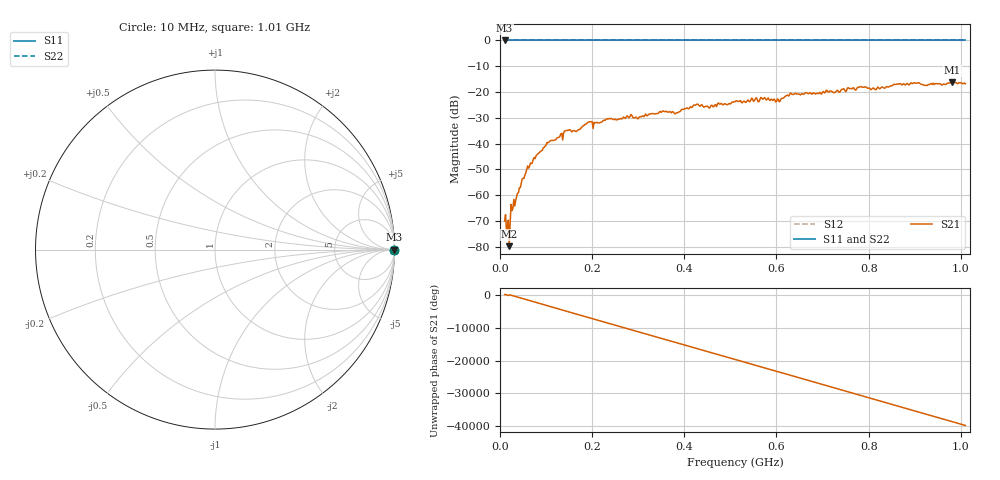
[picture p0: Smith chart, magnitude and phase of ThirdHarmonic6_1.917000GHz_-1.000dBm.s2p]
! 8/16/2025 11:07:20 PM
! C:\ANRITSUVNA\TEMP\TEMP.S2P
! CHANNEL.1
! TR.MEASUREMENT
! RAW.DATA
! RF.CORRECTION.OFF
! AVERAGING.OFF
! IF.BANDWIDTH: 5KHZ
! SWEEPTYPE:  FREQ.SWEEP(Linear)
! Reference Plane Port Info
! PORT:  PORT1  PORT2
! DISTANCE:  0  m  0  m
! TIME:  0  s  0  s
! PHASE.OFFSET:  0  deg.  0  deg.
! LOSS:  0  dB  0  dB
! REF.LOSS:  0  dB  0  dB
! REF.FREQ:  0  Hz  0  Hz
! Power Info
! POWER:  -20  dBm  -20  dBm
! EFF.POWER:  -20  dBm  -20  dBm
! SOURCE.ATTEN:  0  dB  0  dB
! TEST.ATTEN:  0  dB  0  dB
# GHZ S RI R 50.0
! FREQ.GHZ  S11RE  S11IM  S21RE  S21IM  S12RE  S12IM  S22RE  S22IM
!; PortSelection: Port_12
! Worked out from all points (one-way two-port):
!   501 points, 10 MHz to 1.01 GHz, reference 50 ohm
!   highest |S21| = -16.21 dB at 982 MHz (marker M1); lowest = -79.8 dB at 20 MHz (marker M2)
!   lowest |S11| = 0.0 dB at 10 MHz (marker M3)
!   |S11| at or under -10 dB: nowhere
!   |S22| runs from 0.0 to 0.0 dB; largest |S21 - S12| = 1.2
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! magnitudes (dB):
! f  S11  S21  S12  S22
! 10 MHz  0.0  -70.0  0.0  0.0
! 18 MHz  0.0  -69.7  0.0  0.0
! 20 MHz  0.0  -79.8  0.0  0.0
! 24 MHz  0.0  -63.6  0.0  0.0
! 28 MHz  0.0  -65.2  0.0  0.0
! 46 MHz  0.0  -55.6  0.0  0.0
! 76 MHz  0.0  -45.8  0.0  0.0
! 106 MHz  0.0  -39.4  0.0  0.0
! 144 MHz  0.0  -34.9  0.0  0.0
! 178 MHz  0.0  -33.5  0.0  0.0
! 194 MHz  0.0  -31.6  0.0  0.0
! 344 MHz  0.0  -28.3  0.0  0.0
! 382 MHz  0.0  -28.2  0.0  0.0
! 424 MHz  0.0  -25.1  0.0  0.0
! 452 MHz  0.0  -25.8  0.0  0.0
! 510 MHz  0.0  -23.8  0.0  0.0
! 602 MHz  0.0  -22.7  0.0  0.0
! 632 MHz  0.0  -20.6  0.0  0.0
! 678 MHz  0.0  -20.7  0.0  0.0
! 844 MHz  0.0  -18.0  0.0  0.0
! 982 MHz  0.0  -16.2  0.0  0.0
! 1.01 GHz  0.0  -16.8  0.0  0.0
